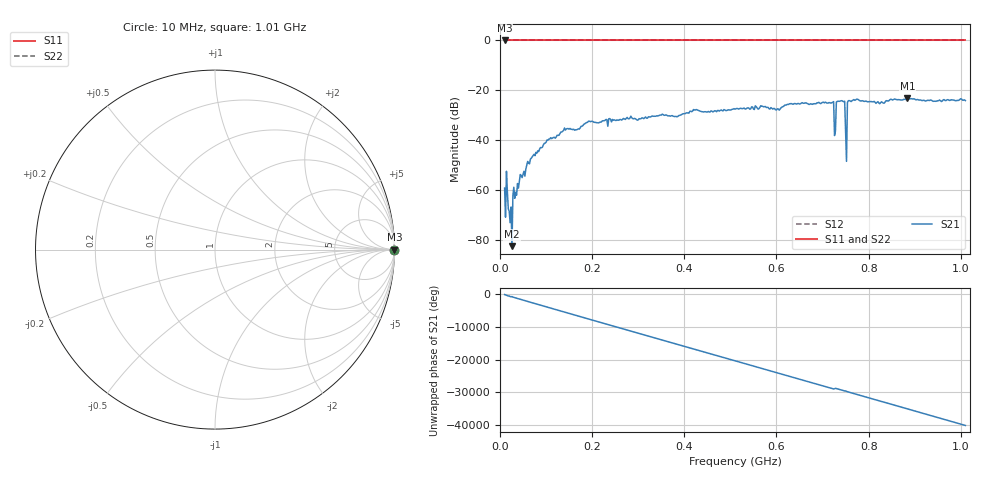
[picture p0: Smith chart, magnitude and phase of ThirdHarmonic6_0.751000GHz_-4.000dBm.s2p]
! 8/16/2025 1:06:34 AM
! C:\ANRITSUVNA\TEMP\TEMP.S2P
! CHANNEL.1
! TR.MEASUREMENT
! RAW.DATA
! RF.CORRECTION.OFF
! AVERAGING.OFF
! IF.BANDWIDTH: 5KHZ
! SWEEPTYPE:  FREQ.SWEEP(Linear)
! Reference Plane Port Info
! PORT:  PORT1  PORT2
! DISTANCE:  0  m  0  m
! TIME:  0  s  0  s
! PHASE.OFFSET:  0  deg.  0  deg.
! LOSS:  0  dB  0  dB
! REF.LOSS:  0  dB  0  dB
! REF.FREQ:  0  Hz  0  Hz
! Power Info
! POWER:  -20  dBm  -20  dBm
! EFF.POWER:  -20  dBm  -20  dBm
! SOURCE.ATTEN:  0  dB  0  dB
! TEST.ATTEN:  0  dB  0  dB
# GHZ S RI R 50.0
! FREQ.GHZ  S11RE  S11IM  S21RE  S21IM  S12RE  S12IM  S22RE  S22IM
!; PortSelection: Port_12
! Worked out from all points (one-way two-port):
!   501 points, 10 MHz to 1.01 GHz, reference 50 ohm
!   highest |S21| = -23.15 dB at 884 MHz (marker M1); lowest = -82.4 dB at 26 MHz (marker M2)
!   lowest |S11| = 0.0 dB at 10 MHz (marker M3)
!   |S11| at or under -10 dB: nowhere
!   |S22| runs from 0.0 to 0.0 dB; largest |S21 - S12| = 1.1
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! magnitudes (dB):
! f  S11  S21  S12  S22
! 10 MHz  0.0  -59.2  0.0  0.0
! 18 MHz  0.0  -67.4  0.0  0.0
! 22 MHz  0.0  -73.0  0.0  0.0
! 26 MHz  0.0  -82.4  0.0  0.0
! 42 MHz  0.0  -56.5  0.0  0.0
! 70 MHz  0.0  -46.6  0.0  0.0
! 106 MHz  0.0  -39.5  0.0  0.0
! 178 MHz  0.0  -34.3  0.0  0.0
! 344 MHz  0.0  -30.2  0.0  0.0
! 510 MHz  0.0  -27.5  0.0  0.0
! 678 MHz  0.0  -25.6  0.0  0.0
! 720 MHz  0.0  -25.0  0.0  0.0
! 724 MHz  0.0  -24.5  0.0  0.0
! 730 MHz  0.0  -24.6  0.0  0.0
! 734 MHz  0.0  -24.3  0.0  0.0
! 744 MHz  0.0  -24.4  0.0  0.0
! 750 MHz  0.0  -35.8  0.0  0.0
! 754 MHz  0.0  -24.8  0.0  0.0
! 758 MHz  0.0  -24.1  0.0  0.0
! 844 MHz  0.0  -24.1  0.0  0.0
! 884 MHz  0.0  -23.2  0.0  0.0
! 1.01 GHz  0.0  -24.1  0.0  0.0
